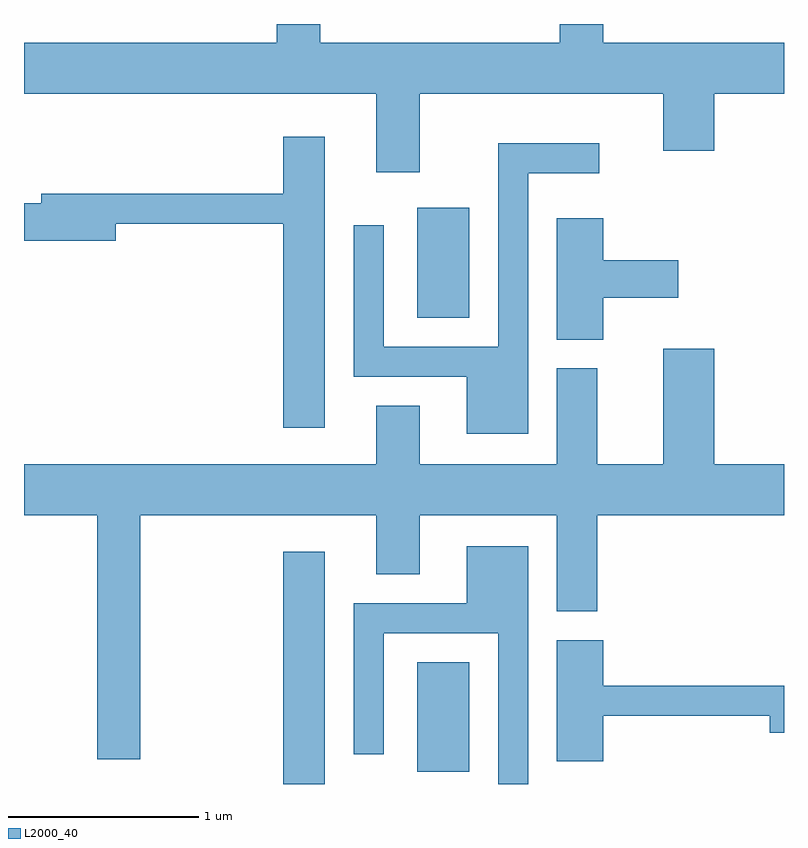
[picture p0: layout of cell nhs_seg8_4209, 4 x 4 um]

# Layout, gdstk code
import gdstk
lib = gdstk.Library(unit=1e-6, precision=1e-09)
def R(c, l, rs):  # rectangles x0, y0, x1, y1
    for r in rs: c.add(gdstk.rectangle(r[:2], r[2:], *l))
def P(c, l, *ps):  # polygons
    for p in ps: c.add(gdstk.Polygon(p, *l))
L2000_40 = (2000, 40)

nhs_seg8_4209 = lib.new_cell('nhs_seg8_4209')
R(nhs_seg8_4209, L2000_40, [(312.976,1828.342,313.194,1829.564), (313.681,1828.406,313.954,1828.984), (313.681,1830.796,313.954,1831.374)])
P(nhs_seg8_4209, L2000_40, [(313.694,1831.976),(314.976,1831.976),(314.976,1831.676),(315.244,1831.676),(315.244,1831.976),(315.611,1831.976),(315.611,1832.244),(314.659,1832.244),(314.659,1832.342),(314.431,1832.342),(314.431,1832.244),(313.169,1832.244),(313.169,1832.342),(312.941,1832.342),(312.941,1832.244),(311.611,1832.244),(311.611,1831.976),(313.466,1831.976),(313.466,1831.561),(313.694,1831.561)],
  [(313.194,1831.749),(312.976,1831.749),(312.976,1831.449),(311.701,1831.449),(311.701,1831.399),(311.611,1831.399),(311.611,1831.201),(312.094,1831.201),(312.094,1831.291),(312.976,1831.291),(312.976,1830.216),(313.194,1830.216)],
  [(314.264,1831.556),(314.638,1831.556),(314.638,1831.714),(314.106,1831.714),(314.106,1830.644),(313.504,1830.644),(313.504,1831.283),(313.346,1831.283),(313.346,1830.486),(313.941,1830.486),(313.941,1830.186),(314.264,1830.186)],
  [(314.659,1830.901),(315.054,1830.901),(315.054,1831.099),(314.659,1831.099),(314.659,1831.319),(314.416,1831.319),(314.416,1830.681),(314.659,1830.681)],
  [(312.224,1829.756),(313.466,1829.756),(313.466,1829.446),(313.694,1829.446),(313.694,1829.756),(314.416,1829.756),(314.416,1829.251),(314.629,1829.251),(314.629,1829.756),(315.611,1829.756),(315.611,1830.024),(315.244,1830.024),(315.244,1830.634),(314.976,1830.634),(314.976,1830.024),(314.629,1830.024),(314.629,1830.529),(314.416,1830.529),(314.416,1830.024),(313.694,1830.024),(313.694,1830.334),(313.466,1830.334),(313.466,1830.024),(311.611,1830.024),(311.611,1829.756),(311.996,1829.756),(311.996,1828.471),(312.224,1828.471)],
  [(314.264,1829.594),(313.941,1829.594),(313.941,1829.294),(313.346,1829.294),(313.346,1828.498),(313.504,1828.498),(313.504,1829.136),(314.106,1829.136),(314.106,1828.342),(314.264,1828.342)],
  [(314.659,1828.701),(315.536,1828.701),(315.536,1828.611),(315.611,1828.611),(315.611,1828.859),(314.659,1828.859),(314.659,1829.099),(314.416,1829.099),(314.416,1828.461),(314.659,1828.461)])

lib.write_gds('nhs_seg8_4209.gds')
